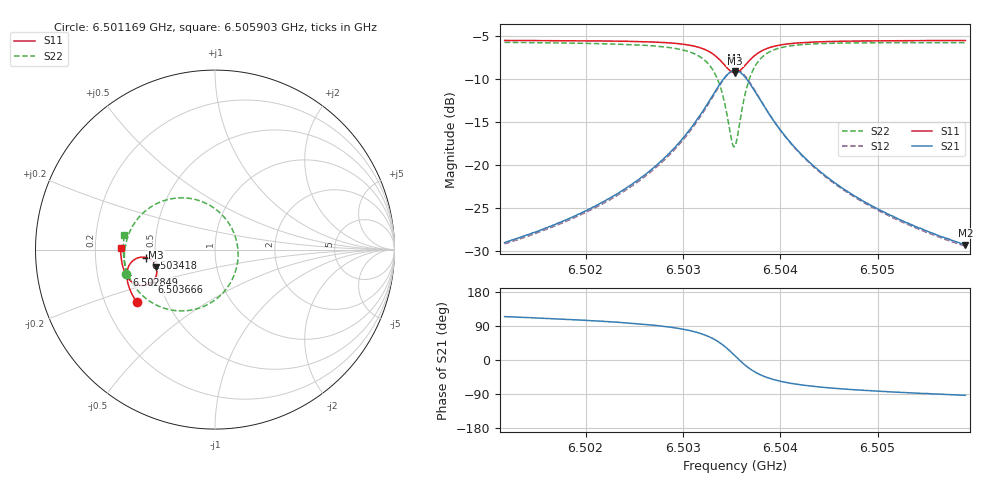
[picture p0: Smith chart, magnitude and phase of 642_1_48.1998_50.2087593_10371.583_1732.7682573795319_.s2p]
#  HZ  S  RI  R  50.00
! Rohde & Schwarz Vector Network Analyzer
! Rohde-Schwarz,ZNB20-2Port,1311601062101988,3.16
! Created: UTC 3/20/2024, 12:04:51 PM
! freq[Hz]  re:S11  im:S11  re:S21  im:S21  re:S12  im:S12  re:S22  im:S22
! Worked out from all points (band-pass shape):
!   401 points, 6.501169 GHz to 6.505903 GHz, reference 50 ohm
!   highest |S21| = -9.06 dB at 6.503536 GHz (marker M1); lowest = -29.3 dB at 6.505903 GHz (marker M2)
!   |S21| within 3 dB of the highest: 6.5033 GHz to 6.503773 GHz (472.7 kHz wide, 0.00727 % of centre)
!   lowest |S11| = -9.3 dB at 6.503536 GHz (marker M3), VSWR 2.04, Z = 24.9 - j5.57 ohm
!   |S11| at or under -10 dB: nowhere
!   |S22| runs from -17.9 to -5.8 dB; largest |S21 - S12| = 0.013
!   S11 on the Smith chart (normalised r, x): 6.501169 GHz: 0.34, -0.27; 6.502849 GHz: 0.33, -0.12; 6.503418 GHz: 0.44, -0.05; 6.503666 GHz: 0.46, -0.19; 6.505903 GHz: 0.31, +0.01
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6.5011689e9  -0.4366 -0.2944  -0.0147 0.0322  -0.0129 0.0325  -0.4951 -0.1359
6.5019618e9  -0.4693 -0.2339  -0.0138 0.0511  -0.0113 0.0506  -0.5049 -0.048
6.5023997e9  -0.4837 -0.1935  -0.0105 0.0716  -0.00723 0.0702  -0.4997 0.0178
6.5027548e9  -0.4911 -0.1523  -0.000584 0.1026  0.00343 0.1001  -0.4776 0.0941
6.5028494e9  -0.4912 -0.1389  0.00527 0.1153  0.00942 0.1121  -0.4646 0.1209
6.5030506e9  -0.4854 -0.1043  0.0302 0.1518  0.0341 0.147  -0.4131 0.1917
6.5031926e9  -0.4691 -0.0737  0.0716 0.1868  0.0747 0.1805  -0.3331 0.252
6.5033228e9  -0.4315 -0.0466  0.1517 0.2132  0.1526 0.2068  -0.1877 0.2884
6.5034175e9  -0.3831 -0.0443  0.2465 0.1957  0.2468 0.1909  -0.0233 0.2433
6.5035003e9  -0.3385 -0.0753  0.3275 0.118  0.3307 0.1135  0.1066 0.0899
6.5035359e9  -0.3273 -0.0986  0.3457 0.0673  0.3501 0.0612  0.1282 -0.00568
6.5035595e9  -0.3242 -0.1156  0.3492 0.0313  0.3539 0.0239  0.1256 -0.072
6.503595e9  -0.3264 -0.1408  0.3414 -0.0211  0.3455 -0.0309  0.0968 -0.1648
6.503666e9  -0.3499 -0.1797  0.2925 -0.1002  0.2926 -0.1129  -0.0185 -0.2931
6.5037134e9  -0.3712 -0.1938  0.2507 -0.1299  0.2477 -0.1425  -0.1062 -0.3313
6.5037725e9  -0.3973 -0.2008  0.2016 -0.1468  0.196 -0.1577  -0.2026 -0.3413
6.5039146e9  -0.4432 -0.1927  0.1193 -0.1438  0.1117 -0.1498  -0.3514 -0.2956
6.5040803e9  -0.4731 -0.1716  0.0697 -0.1217  0.0628 -0.1246  -0.4321 -0.2262
6.5043288e9  -0.496 -0.1401  0.0356 -0.0939  0.0305 -0.0945  -0.4811 -0.1464
6.5046957e9  -0.512 -0.1003  0.0153 -0.0682  0.0118 -0.0679  -0.5049 -0.0677
6.5051217e9  -0.5213 -0.0599  0.0054 -0.0513  0.00295 -0.0505  -0.5111 -0.00386
6.5059028e9  -0.5264 0.0072  -0.00194 -0.0343  -0.00345 -0.0337  -0.5046 0.0823
